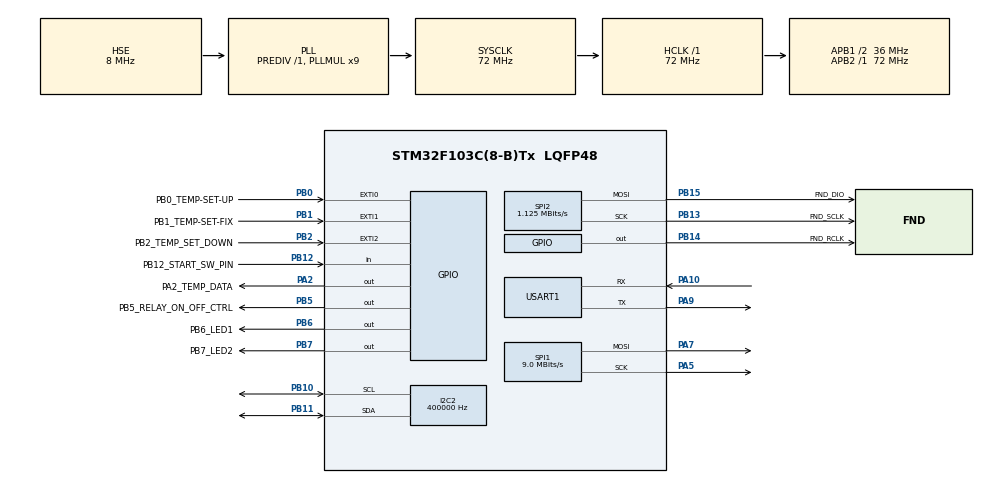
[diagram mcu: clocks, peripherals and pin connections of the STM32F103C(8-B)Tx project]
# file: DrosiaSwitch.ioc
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I2C2.ClockSpeed=400000
I2C2.I2C_Mode=I2C_Fast
I2C2.OwnAddress=127
Mcu.Family=STM32F1
Mcu.Name=STM32F103C(8-B)Tx
Mcu.Package=LQFP48
NVIC.EXTI0_IRQn=true\:8\:0\:true\:false\:true\:true\:true\:true
NVIC.EXTI1_IRQn=true\:9\:0\:true\:false\:true\:true\:true\:true
NVIC.EXTI2_IRQn=true\:9\:0\:true\:false\:true\:true\:true\:true
NVIC.PriorityGroup=NVIC_PRIORITYGROUP_4
NVIC.SPI2_IRQn=true\:0\:0\:false\:false\:true\:true\:true\:true
NVIC.TIM2_IRQn=true\:15\:0\:true\:false\:true\:true\:true\:true
NVIC.TIM3_IRQn=true\:15\:0\:true\:false\:true\:true\:true\:true
PA10.Mode=Asynchronous
PA10.Signal=USART1_RX
PA13.Mode=Serial_Wire
PA13.Signal=SYS_JTMS-SWDIO
PA14.Mode=Serial_Wire
PA14.Signal=SYS_JTCK-SWCLK
PA2.GPIO_Label=PA2_TEMP_DATA
PA2.GPIO_ModeDefaultOutputPP=GPIO_MODE_OUTPUT_PP
PA2.GPIO_PuPd=GPIO_PULLUP
PA2.GPIO_Speed=GPIO_SPEED_FREQ_HIGH
PA2.PinState=GPIO_PIN_SET
PA2.Signal=GPIO_Output
PA5.Mode=TX_Only_Simplex_Unidirect_Master
PA5.Signal=SPI1_SCK
PA7.Mode=TX_Only_Simplex_Unidirect_Master
PA7.Signal=SPI1_MOSI
PA9.Mode=Asynchronous
PA9.Signal=USART1_TX
PB0.GPIO_Label=PB0_TEMP-SET-UP
PB0.GPIO_ModeDefaultEXTI=GPIO_MODE_IT_FALLING
PB0.GPIO_PuPd=GPIO_PULLUP
PB0.Signal=GPXTI0
PB1.GPIO_Label=PB1_TEMP-SET-FIX
PB1.GPIO_ModeDefaultEXTI=GPIO_MODE_IT_FALLING
PB1.GPIO_PuPd=GPIO_PULLUP
PB1.Signal=GPXTI1
PB10.Mode=I2C
PB10.Signal=I2C2_SCL
PB11.Mode=I2C
PB11.Signal=I2C2_SDA
PB12.GPIO_Label=PB12_START_SW_PIN
PB12.GPIO_Mode=GPIO_MODE_INPUT
PB12.GPIO_PuPd=GPIO_PULLUP
PB12.Signal=GPIO_Input
PB13.GPIO_Label=FND_SCLK
PB13.Mode=TX_Only_Simplex_Unidirect_Master
PB13.Signal=SPI2_SCK
PB14.GPIO_Label=FND_RCLK
PB14.GPIO_ModeDefaultOutputPP=GPIO_MODE_OUTPUT_PP
PB14.GPIO_PuPd=GPIO_PULLUP
PB14.GPIO_Speed=GPIO_SPEED_FREQ_HIGH
PB14.PinState=GPIO_PIN_SET
PB14.Signal=GPIO_Output
PB15.GPIO_Label=FND_DIO
PB15.Mode=TX_Only_Simplex_Unidirect_Master
PB15.Signal=SPI2_MOSI
PB2.GPIO_Label=PB2_TEMP_SET_DOWN
PB2.GPIO_ModeDefaultEXTI=GPIO_MODE_IT_FALLING
PB2.GPIO_PuPd=GPIO_PULLUP
PB2.Signal=GPXTI2
PB5.GPIO_Label=PB5_RELAY_ON_OFF_CTRL
PB5.GPIO_ModeDefaultOutputPP=GPIO_MODE_OUTPUT_PP
PB5.GPIO_PuPd=GPIO_PULLDOWN
PB5.GPIO_Speed=GPIO_SPEED_FREQ_HIGH
PB5.PinState=GPIO_PIN_RESET
PB5.Signal=GPIO_Output
PB6.GPIO_Label=PB6_LED1
PB6.GPIO_ModeDefaultOutputPP=GPIO_MODE_OUTPUT_PP
PB6.GPIO_PuPd=GPIO_PULLUP
PB6.GPIO_Speed=GPIO_SPEED_FREQ_HIGH
PB6.PinState=GPIO_PIN_SET
PB6.Signal=GPIO_Output
PB7.GPIO_Label=PB7_LED2
PB7.GPIO_ModeDefaultOutputPP=GPIO_MODE_OUTPUT_PP
PB7.GPIO_PuPd=GPIO_PULLUP
PB7.GPIO_Speed=GPIO_SPEED_FREQ_HIGH
PB7.PinState=GPIO_PIN_SET
PB7.Signal=GPIO_Output
PC14-OSC32_IN.Mode=LSE-External-Oscillator
PC14-OSC32_IN.Signal=RCC_OSC32_IN
PC15-OSC32_OUT.Mode=LSE-External-Oscillator
PC15-OSC32_OUT.Signal=RCC_OSC32_OUT
PD0-OSC_IN.Mode=HSE-External-Oscillator
PD0-OSC_IN.Signal=RCC_OSC_IN
PD1-OSC_OUT.Mode=HSE-External-Oscillator
PD1-OSC_OUT.Signal=RCC_OSC_OUT
ProjectManager.HeapSize=0x200
ProjectManager.StackSize=0x400
ProjectManager.TargetToolchain=STM32CubeIDE
RCC.AHBFreq_Value=72000000
RCC.APB1CLKDivider=RCC_HCLK_DIV2
RCC.APB1Freq_Value=36000000
RCC.APB1TimFreq_Value=72000000
RCC.APB2Freq_Value=72000000
RCC.APB2TimFreq_Value=72000000
RCC.HCLKFreq_Value=72000000
RCC.PLLMUL=RCC_PLL_MUL9
RCC.PLLSourceVirtual=RCC_PLLSOURCE_HSE
RCC.SYSCLKFreq_VALUE=72000000
RCC.SYSCLKSource=RCC_SYSCLKSOURCE_PLLCLK
RCC.USBFreq_Value=72000000
SPI1.BaudRatePrescaler=SPI_BAUDRATEPRESCALER_8
SPI1.CLKPhase=SPI_PHASE_1EDGE
SPI1.CalculateBaudRate=9.0 MBits/s
SPI1.Direction=SPI_DIRECTION_2LINES
SPI1.Mode=SPI_MODE_MASTER
SPI1.VirtualType=VM_MASTER
SPI2.BaudRatePrescaler=SPI_BAUDRATEPRESCALER_32
SPI2.CLKPhase=SPI_PHASE_2EDGE
SPI2.CLKPolarity=SPI_POLARITY_LOW
SPI2.CalculateBaudRate=1.125 MBits/s
SPI2.Direction=SPI_DIRECTION_2LINES
SPI2.Mode=SPI_MODE_MASTER
SPI2.VirtualType=VM_MASTER
TIM2.Period=0xFFFF
TIM2.Prescaler=(72-1)
TIM3.Period=999
TIM3.Prescaler=71
USART1.VirtualMode=VM_ASYNC
VP_TIM2_VS_ClockSourceINT.Mode=Internal
VP_TIM3_VS_ClockSourceINT.Mode=Internal
board=custom

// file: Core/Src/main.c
/* USER CODE BEGIN Header */
/**
 ******************************************************************************
 * @file           : main.c
 * @brief          : Main program body
 ******************************************************************************
 * @attention
 *
 * Copyright (c) 2026 STMicroelectronics.
 * All rights reserved.
 *
 * This software is licensed under terms that can be found in the LICENSE file
 * in the root directory of this software component.
 * If no LICENSE file comes with this software, it is provided AS-IS.
 *
 ******************************************************************************
 */
/* USER CODE END Header */
#include "main.h"

/* USER CODE BEGIN Includes */
#include <stdio.h>

#include "fnd_controller.h"
#include "ds18b20.h"
#include "heater_controller.h"

#include "oledController.h"

#include "button_controller.h"
#include "fault_manager.h"
/* USER CODE END Includes */

I2C_HandleTypeDef hi2c2;

SPI_HandleTypeDef hspi1;
SPI_HandleTypeDef hspi2;

TIM_HandleTypeDef htim2;
TIM_HandleTypeDef htim3;

UART_HandleTypeDef huart1;

void SystemClock_Config(void);
static void MX_GPIO_Init(void);
static void MX_TIM2_Init(void);
static void MX_SPI1_Init(void);
static void MX_TIM3_Init(void);
static void MX_I2C2_Init(void);
static void MX_USART1_UART_Init(void);
static void MX_SPI2_Init(void);

/* USER CODE BEGIN 0 */
int _write(int file, char *ptr, int len)
{
	HAL_UART_Transmit(&huart1, (uint8_t*) ptr, len, 10);
	return len;
}

float temper = 0;

static void ProcessSensor(float *outTemperature)
{
	if (IsConverting())
	{
		CheckConverting();
		if (IsConverting())
		{
			return;
		}
	}

	// One report for each actual read attempt.
	bool readSucceeded = GetTemperResult(outTemperature);
	FaultReport(readSucceeded);

	if (GetFaultState() != RECHECK)
	{
		DS18B20_StartAll_Converting();
	}
	// RECHECK keeps this conversion result for one retry on the next tick.
}
/* USER CODE END 0 */

int main(void)
{

	/* USER CODE BEGIN 1 */
	//float temper = 0.0;
	/* USER CODE END 1 */

	/* MCU Configuration--------------------------------------------------------*/

	/* Reset of all peripherals, Initializes the Flash interface and the Systick. */
	HAL_Init();

	/* Configure the system clock */
	SystemClock_Config();

	/* Initialize all configured peripherals */
	MX_GPIO_Init();
	MX_TIM2_Init();
	MX_SPI1_Init();
	MX_TIM3_Init();
	MX_I2C2_Init();
	MX_USART1_UART_Init();
	MX_SPI2_Init();
	/* USER CODE BEGIN 2 */
	FaultManagerInit();
	FND_Init(&hspi2);
	SSD1306_Init();
	SSD1306_Stopscroll();
	Ds18b20_Init_Simple();

	HeaterControllerInit();
	HAL_TIM_Base_Start_IT(&htim3);
	ShowOpening();
	DS18B20_StartAll_Converting();

	/* USER CODE END 2 */

	/* Infinite loop */
	/* USER CODE BEGIN WHILE */
	uint32_t lastSensorProcessTick = HAL_GetTick();

	while (1)
	{
		ProcessButtonEvents();

		uint32_t now = HAL_GetTick();
		if ((uint32_t) (now - lastSensorProcessTick) >= 10U)
		{
			lastSensorProcessTick = now;
			ProcessSensor(&temper);
		}

		//printf("%d \r\n", HAL_GPIO_ReadPin(PB12_START_SW_PIN_GPIO_Port, PB12_START_SW_PIN_Pin));

		// Existing heater logic reads the cache; fault integration is pending.
		ProcessHeater();

		ProcessOled();

		/*
		 printf("PB2 = %d\r\n",
		 HAL_GPIO_ReadPin(PB2_TEMP_SET_DOWN_GPIO_Port, PB2_TEMP_SET_DOWN_Pin));

		 HAL_Delay(500);
		 */
		/*if(HAL_GPIO_ReadPin(PB0_TEMP_SET_UP_GPIO_Port, PB0_TEMP_SET_UP_Pin))
		 {
		 printf("1\r\n");
		 }
		 else
		 {
		 printf("0\r\n");
		 }*/

		/* USER CODE END WHILE */

	}
}

void SystemClock_Config(void)
{
	RCC_OscInitTypeDef RCC_OscInitStruct = { 0 };
	RCC_ClkInitTypeDef RCC_ClkInitStruct = { 0 };

	/** Initializes the RCC Oscillators according to the specified parameters
	 * in the RCC_OscInitTypeDef structure.
	 */
	RCC_OscInitStruct.OscillatorType = RCC_OSCILLATORTYPE_HSE;
	RCC_OscInitStruct.HSEState = RCC_HSE_ON;
	RCC_OscInitStruct.HSEPredivValue = RCC_HSE_PREDIV_DIV1;
	RCC_OscInitStruct.HSIState = RCC_HSI_ON;
	RCC_OscInitStruct.PLL.PLLState = RCC_PLL_ON;
	RCC_OscInitStruct.PLL.PLLSource = RCC_PLLSOURCE_HSE;
	RCC_OscInitStruct.PLL.PLLMUL = RCC_PLL_MUL9;
	if (HAL_RCC_OscConfig(&RCC_OscInitStruct) != HAL_OK)
	{
		Error_Handler();
	}

	/** Initializes the CPU, AHB and APB buses clocks
	 */
	RCC_ClkInitStruct.ClockType = RCC_CLOCKTYPE_HCLK | RCC_CLOCKTYPE_SYSCLK
			| RCC_CLOCKTYPE_PCLK1 | RCC_CLOCKTYPE_PCLK2;
	RCC_ClkInitStruct.SYSCLKSource = RCC_SYSCLKSOURCE_PLLCLK;
	RCC_ClkInitStruct.AHBCLKDivider = RCC_SYSCLK_DIV1;
	RCC_ClkInitStruct.APB1CLKDivider = RCC_HCLK_DIV2;
	RCC_ClkInitStruct.APB2CLKDivider = RCC_HCLK_DIV1;

	if (HAL_RCC_ClockConfig(&RCC_ClkInitStruct, FLASH_LATENCY_2) != HAL_OK)
	{
		Error_Handler();
	}
}

static void MX_I2C2_Init(void)
{

	hi2c2.Instance = I2C2;
	hi2c2.Init.ClockSpeed = 400000;
	hi2c2.Init.DutyCycle = I2C_DUTYCYCLE_2;
	hi2c2.Init.OwnAddress1 = 254;
	hi2c2.Init.AddressingMode = I2C_ADDRESSINGMODE_7BIT;
	hi2c2.Init.DualAddressMode = I2C_DUALADDRESS_DISABLE;
	hi2c2.Init.OwnAddress2 = 0;
	hi2c2.Init.GeneralCallMode = I2C_GENERALCALL_DISABLE;
	hi2c2.Init.NoStretchMode = I2C_NOSTRETCH_DISABLE;
	if (HAL_I2C_Init(&hi2c2) != HAL_OK)
	{
		Error_Handler();
	}

}

static void MX_SPI1_Init(void)
{

	/* SPI1 parameter configuration*/
	hspi1.Instance = SPI1;
	hspi1.Init.Mode = SPI_MODE_MASTER;
	hspi1.Init.Direction = SPI_DIRECTION_2LINES;
	hspi1.Init.DataSize = SPI_DATASIZE_8BIT;
	hspi1.Init.CLKPolarity = SPI_POLARITY_LOW;
	hspi1.Init.CLKPhase = SPI_PHASE_1EDGE;
	hspi1.Init.NSS = SPI_NSS_SOFT;
	hspi1.Init.BaudRatePrescaler = SPI_BAUDRATEPRESCALER_8;
	hspi1.Init.FirstBit = SPI_FIRSTBIT_MSB;
	hspi1.Init.TIMode = SPI_TIMODE_DISABLE;
	hspi1.Init.CRCCalculation = SPI_CRCCALCULATION_DISABLE;
	hspi1.Init.CRCPolynomial = 10;
	if (HAL_SPI_Init(&hspi1) != HAL_OK)
	{
		Error_Handler();
	}

}

static void MX_SPI2_Init(void)
{

	/* SPI2 parameter configuration*/
	hspi2.Instance = SPI2;
	hspi2.Init.Mode = SPI_MODE_MASTER;
	hspi2.Init.Direction = SPI_DIRECTION_2LINES;
	hspi2.Init.DataSize = SPI_DATASIZE_8BIT;
	hspi2.Init.CLKPolarity = SPI_POLARITY_LOW;
	hspi2.Init.CLKPhase = SPI_PHASE_2EDGE;
	hspi2.Init.NSS = SPI_NSS_SOFT;
	hspi2.Init.BaudRatePrescaler = SPI_BAUDRATEPRESCALER_32;
	hspi2.Init.FirstBit = SPI_FIRSTBIT_MSB;
	hspi2.Init.TIMode = SPI_TIMODE_DISABLE;
	hspi2.Init.CRCCalculation = SPI_CRCCALCULATION_DISABLE;
	hspi2.Init.CRCPolynomial = 10;
	if (HAL_SPI_Init(&hspi2) != HAL_OK)
	{
		Error_Handler();
	}

}

static void MX_TIM2_Init(void)
{

	TIM_ClockConfigTypeDef sClockSourceConfig = { 0 };
	TIM_MasterConfigTypeDef sMasterConfig = { 0 };

	htim2.Instance = TIM2;
	htim2.Init.Prescaler = (72 - 1);
	htim2.Init.CounterMode = TIM_COUNTERMODE_UP;
	htim2.Init.Period = 0xFFFF;
	htim2.Init.ClockDivision = TIM_CLOCKDIVISION_DIV1;
	htim2.Init.AutoReloadPreload = TIM_AUTORELOAD_PRELOAD_DISABLE;
	if (HAL_TIM_Base_Init(&htim2) != HAL_OK)
	{
		Error_Handler();
	}
	sClockSourceConfig.ClockSource = TIM_CLOCKSOURCE_INTERNAL;
	if (HAL_TIM_ConfigClockSource(&htim2, &sClockSourceConfig) != HAL_OK)
	{
		Error_Handler();
	}
	sMasterConfig.MasterOutputTrigger = TIM_TRGO_RESET;
	sMasterConfig.MasterSlaveMode = TIM_MASTERSLAVEMODE_DISABLE;
	if (HAL_TIMEx_MasterConfigSynchronization(&htim2, &sMasterConfig) != HAL_OK)
	{
		Error_Handler();
	}

}

static void MX_TIM3_Init(void)
{

	TIM_ClockConfigTypeDef sClockSourceConfig = { 0 };
	TIM_MasterConfigTypeDef sMasterConfig = { 0 };

	htim3.Instance = TIM3;
	htim3.Init.Prescaler = 71;
	htim3.Init.CounterMode = TIM_COUNTERMODE_UP;
	htim3.Init.Period = 999;
	htim3.Init.ClockDivision = TIM_CLOCKDIVISION_DIV1;
	htim3.Init.AutoReloadPreload = TIM_AUTORELOAD_PRELOAD_DISABLE;
	if (HAL_TIM_Base_Init(&htim3) != HAL_OK)
	{
		Error_Handler();
	}
	sClockSourceConfig.ClockSource = TIM_CLOCKSOURCE_INTERNAL;
	if (HAL_TIM_ConfigClockSource(&htim3, &sClockSourceConfig) != HAL_OK)
	{
		Error_Handler();
	}
	sMasterConfig.MasterOutputTrigger = TIM_TRGO_RESET;
	sMasterConfig.MasterSlaveMode = TIM_MASTERSLAVEMODE_DISABLE;
	if (HAL_TIMEx_MasterConfigSynchronization(&htim3, &sMasterConfig) != HAL_OK)
	{
		Error_Handler();
	}

}

static void MX_USART1_UART_Init(void)
{

	huart1.Instance = USART1;
	huart1.Init.BaudRate = 115200;
	huart1.Init.WordLength = UART_WORDLENGTH_8B;
	huart1.Init.StopBits = UART_STOPBITS_1;
	huart1.Init.Parity = UART_PARITY_NONE;
	huart1.Init.Mode = UART_MODE_TX_RX;
	huart1.Init.HwFlowCtl = UART_HWCONTROL_NONE;
	huart1.Init.OverSampling = UART_OVERSAMPLING_16;
	if (HAL_UART_Init(&huart1) != HAL_OK)
	{
		Error_Handler();
	}

}

static void MX_GPIO_Init(void)
{
	GPIO_InitTypeDef GPIO_InitStruct = { 0 };

	/* GPIO Ports Clock Enable */
	__HAL_RCC_GPIOC_CLK_ENABLE();
	__HAL_RCC_GPIOD_CLK_ENABLE();
	__HAL_RCC_GPIOA_CLK_ENABLE();
	__HAL_RCC_GPIOB_CLK_ENABLE();

	/*Configure GPIO pin Output Level */
	HAL_GPIO_WritePin(PA2_TEMP_DATA_GPIO_Port, PA2_TEMP_DATA_Pin, GPIO_PIN_SET);

	/*Configure GPIO pin Output Level */
	HAL_GPIO_WritePin(GPIOB, FND_RCLK_Pin | PB6_LED1_Pin | PB7_LED2_Pin,
			GPIO_PIN_SET);

	/*Configure GPIO pin Output Level */
	HAL_GPIO_WritePin(PB5_RELAY_ON_OFF_CTRL_GPIO_Port,
	PB5_RELAY_ON_OFF_CTRL_Pin, GPIO_PIN_RESET);

	/*Configure GPIO pin : PA2_TEMP_DATA_Pin */
	GPIO_InitStruct.Pin = PA2_TEMP_DATA_Pin;
	GPIO_InitStruct.Mode = GPIO_MODE_OUTPUT_PP;
	GPIO_InitStruct.Pull = GPIO_PULLUP;
	GPIO_InitStruct.Speed = GPIO_SPEED_FREQ_HIGH;
	HAL_GPIO_Init(PA2_TEMP_DATA_GPIO_Port, &GPIO_InitStruct);

	/*Configure GPIO pins : PB0_TEMP_SET_UP_Pin PB1_TEMP_SET_FIX_Pin PB2_TEMP_SET_DOWN_Pin */
	GPIO_InitStruct.Pin = PB0_TEMP_SET_UP_Pin | PB1_TEMP_SET_FIX_Pin
			| PB2_TEMP_SET_DOWN_Pin;
	GPIO_InitStruct.Mode = GPIO_MODE_IT_FALLING;
	GPIO_InitStruct.Pull = GPIO_PULLUP;
	HAL_GPIO_Init(GPIOB, &GPIO_InitStruct);

	/*Configure GPIO pin : PB12_START_SW_PIN_Pin */
	GPIO_InitStruct.Pin = PB12_START_SW_PIN_Pin;
	GPIO_InitStruct.Mode = GPIO_MODE_INPUT;
	GPIO_InitStruct.Pull = GPIO_PULLUP;
	HAL_GPIO_Init(PB12_START_SW_PIN_GPIO_Port, &GPIO_InitStruct);

	/*Configure GPIO pins : FND_RCLK_Pin PB6_LED1_Pin PB7_LED2_Pin */
	GPIO_InitStruct.Pin = FND_RCLK_Pin | PB6_LED1_Pin | PB7_LED2_Pin;
	GPIO_InitStruct.Mode = GPIO_MODE_OUTPUT_PP;
	GPIO_InitStruct.Pull = GPIO_PULLUP;
	GPIO_InitStruct.Speed = GPIO_SPEED_FREQ_HIGH;
	HAL_GPIO_Init(GPIOB, &GPIO_InitStruct);

	/*Configure GPIO pin : PB5_RELAY_ON_OFF_CTRL_Pin */
	GPIO_InitStruct.Pin = PB5_RELAY_ON_OFF_CTRL_Pin;
	GPIO_InitStruct.Mode = GPIO_MODE_OUTPUT_PP;
	GPIO_InitStruct.Pull = GPIO_PULLDOWN;
	GPIO_InitStruct.Speed = GPIO_SPEED_FREQ_HIGH;
	HAL_GPIO_Init(PB5_RELAY_ON_OFF_CTRL_GPIO_Port, &GPIO_InitStruct);

	/* EXTI interrupt init*/
	HAL_NVIC_SetPriority(EXTI0_IRQn, 8, 0);
	HAL_NVIC_EnableIRQ(EXTI0_IRQn);

	HAL_NVIC_SetPriority(EXTI1_IRQn, 9, 0);
	HAL_NVIC_EnableIRQ(EXTI1_IRQn);

	HAL_NVIC_SetPriority(EXTI2_IRQn, 9, 0);
	HAL_NVIC_EnableIRQ(EXTI2_IRQn);

}

/* USER CODE BEGIN 4 */

void HAL_GPIO_EXTI_Callback(uint16_t GPIO_Pin)
{
	ButtonController_OnExti(GPIO_Pin);
}
/* USER CODE END 4 */

void Error_Handler(void)
{
	__disable_irq();
	while (1)
	{
	}
}
